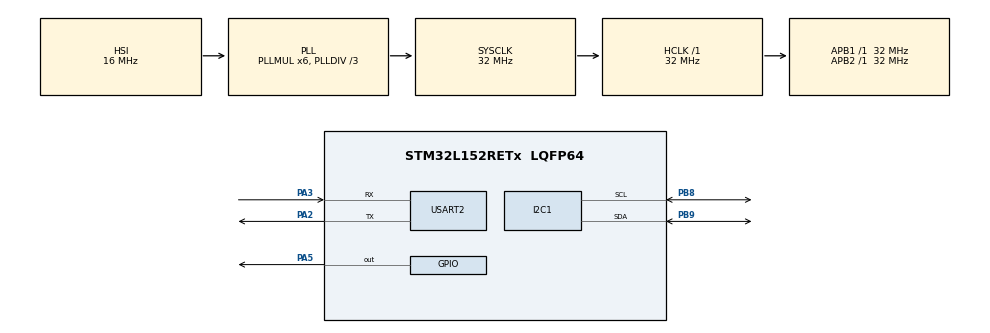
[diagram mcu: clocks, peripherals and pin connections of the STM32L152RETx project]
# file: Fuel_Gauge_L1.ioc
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Mcu.Family=STM32L1
Mcu.Name=STM32L152RETx
Mcu.Package=LQFP64
NVIC.PriorityGroup=NVIC_PRIORITYGROUP_0
PA2.Mode=Asynchronous
PA2.Signal=USART2_TX
PA3.Mode=Asynchronous
PA3.Signal=USART2_RX
PA5.Signal=GPIO_Output
PB8.GPIO_PuPdOD=GPIO_NOPULL
PB8.Mode=I2C
PB8.Signal=I2C1_SCL
PB9.GPIO_PuPdOD=GPIO_NOPULL
PB9.Mode=I2C
PB9.Signal=I2C1_SDA
ProjectManager.HeapSize=0x200
ProjectManager.StackSize=0x400
ProjectManager.TargetToolchain=MDK-ARM V5
RCC.48MHZClocksFreq_Value=48000000
RCC.AHBFreq_Value=32000000
RCC.APB1Freq_Value=32000000
RCC.APB1TimFreq_Value=32000000
RCC.APB2Freq_Value=32000000
RCC.APB2TimFreq_Value=32000000
RCC.HCLKFreq_Value=32000000
RCC.HSE_VALUE=8000000
RCC.HSI_VALUE=16000000
RCC.MSI_VALUE=2097000
RCC.PLLDIV=RCC_PLL_DIV3
RCC.PLLMUL=RCC_PLL_MUL6
RCC.RTCClockSelectionVirtual=RCC_RTCCLKSOURCE_LSE
RCC.SYSCLKFreq_VALUE=32000000
RCC.SYSCLKSource=RCC_SYSCLKSOURCE_PLLCLK
RCC.USBOutput=48000000
RCC.VCOOutputFreq_Value=96000000
USART2.VirtualMode=VM_ASYNC
board=NUCLEO-L152RE

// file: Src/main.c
/* USER CODE BEGIN Header */
/**
  ******************************************************************************
  * @file           : main.c
  * @brief          : Main program body
  ******************************************************************************
  ** This notice applies to any and all portions of this file
  * that are not between comment pairs USER CODE BEGIN and
  * USER CODE END. Other portions of this file, whether
  * inserted by the user or by software development tools
  * are owned by their respective copyright owners.
  *
  * COPYRIGHT(c) 2019 STMicroelectronics
  *
  * Redistribution and use in source and binary forms, with or without modification,
  * are permitted provided that the following conditions are met:
  *   1. Redistributions of source code must retain the above copyright notice,
  *      this list of conditions and the following disclaimer.
  *   2. Redistributions in binary form must reproduce the above copyright notice,
  *      this list of conditions and the following disclaimer in the documentation
  *      and/or other materials provided with the distribution.
  *   3. Neither the name of STMicroelectronics nor the names of its contributors
  *      may be used to endorse or promote products derived from this software
  *      without specific prior written permission.
  *
  * THIS SOFTWARE IS PROVIDED BY THE COPYRIGHT HOLDERS AND CONTRIBUTORS "AS IS"
  * AND ANY EXPRESS OR IMPLIED WARRANTIES, INCLUDING, BUT NOT LIMITED TO, THE
  * IMPLIED WARRANTIES OF MERCHANTABILITY AND FITNESS FOR A PARTICULAR PURPOSE ARE
  * DISCLAIMED. IN NO EVENT SHALL THE COPYRIGHT HOLDER OR CONTRIBUTORS BE LIABLE
  * FOR ANY DIRECT, INDIRECT, INCIDENTAL, SPECIAL, EXEMPLARY, OR CONSEQUENTIAL
  * DAMAGES (INCLUDING, BUT NOT LIMITED TO, PROCUREMENT OF SUBSTITUTE GOODS OR
  * SERVICES; LOSS OF USE, DATA, OR PROFITS; OR BUSINESS INTERRUPTION) HOWEVER
  * CAUSED AND ON ANY THEORY OF LIABILITY, WHETHER IN CONTRACT, STRICT LIABILITY,
  * OR TORT (INCLUDING NEGLIGENCE OR OTHERWISE) ARISING IN ANY WAY OUT OF THE USE
  * OF THIS SOFTWARE, EVEN IF ADVISED OF THE POSSIBILITY OF SUCH DAMAGE.
  *
  ******************************************************************************
  */
/* USER CODE END Header */

#include "main.h"

/* USER CODE BEGIN Includes */
#include "string.h"

#include "Fuel_Gauge_Functions.h"
/* USER CODE END Includes */

I2C_HandleTypeDef hi2c1;

UART_HandleTypeDef huart2;

/* USER CODE BEGIN PV */
static fg_config_t config = {	6700, 		// design capacity of 3350mAh
															0x7D61, 	// empty voltage target = 2.5V, recovery voltage = 3.88V
															0x8020, 	// model cfg set for lithium NCR/NCA cell
															0x01A0, 	// charge termination current = 0.3A
															0x0000,
															6700/32,
															(6700/32)*44138/6700,
															0x8214,	 	// config1
															0x3658};	// config2
/* USER CODE END PV */

void SystemClock_Config(void);
static void MX_GPIO_Init(void);
static void MX_USART2_UART_Init(void);
static void MX_I2C1_Init(void);

int main(void)
{

  /* MCU Configuration--------------------------------------------------------*/

  /* Reset of all peripherals, Initializes the Flash interface and the Systick. */
  HAL_Init();

  /* Configure the system clock */
  SystemClock_Config();

  /* Initialize all configured peripherals */
  MX_GPIO_Init();
  MX_USART2_UART_Init();
  MX_I2C1_Init();
  /* USER CODE BEGIN 2 */
	// Initialize UART buffers
	char uartTest[100] = {0};
	char clear[100] = {0};
	////////////////////////////////////////////////////////////////////////////////////////////////////////////////
	////////////// Create the message beginning the test ///////////////////////////////////////////////////////////
	////////////////////////////////////////////////////////////////////////////////////////////////////////////////
	snprintf(uartTest, sizeof(uartTest), "\n\n-----Test Begin-----\n");
	HAL_UART_Transmit(&huart2, (uint8_t *) uartTest , sizeof(uartTest), 1);

	////////////////////////////////////////////////////////////////////////////////////////////////////////////////
	////////////// Test the initialization and the value of the configuration registers ////////////////////////////
	////////////////////////////////////////////////////////////////////////////////////////////////////////////////
	// Initialize variables to track messages and errors
	uint16_t recv[1] = {0};
	uint8_t err_cnt = 0;

	// Initialize the fuel gauge registers
	init(&hi2c1, config);

	// Test each configuration register after initialization
	recv[0] = 0;
	readReg(&hi2c1, DESIGN_CAP_REG, recv);
	if (recv[0] != 6700) {
		err_cnt++;
	}

	recv[0] = 0;
	readReg(&hi2c1, V_EMPTY_REG, recv);
	if (recv[0] != 0x7D61) {
		err_cnt++;
	}

	recv[0] = 0;
	readReg(&hi2c1, MODEL_CFG_REG, recv);
	if (recv[0] != 0x0020) {
		err_cnt++;
	}

	recv[0] = 0;
	readReg(&hi2c1, I_CHG_REG, recv);
	if (recv[0] != 0x0780) {
		err_cnt++;
	}

	recv[0] = 0;
	readReg(&hi2c1, CONF_REG, recv);
	if (recv[0] != 0x8214) {
		err_cnt++;
	}

	recv[0] = 0;
	readReg(&hi2c1, CONF2_REG, recv);
	if (recv[0] != 0x3658) {
		err_cnt++;
	}

	// Create the message for the number of config registers that are not what they should be
	snprintf(uartTest, 100, "\nConfig registers not equal to what they should after initialization: %u\n", err_cnt);
	HAL_UART_Transmit(&huart2, (uint8_t *) uartTest , 100, 10);
	if (err_cnt == 6)
	{
		memcpy(uartTest, clear, 100);
		snprintf(uartTest, sizeof(uartTest), "\n-----Error: Test End-----\n\n");
		HAL_UART_Transmit(&huart2, (uint8_t *) uartTest , sizeof(uartTest), 10);
		return 0;
	}

	////////////////////////////////////////////////////////////////////////////////////////////////////////////////
	////////////// Test the registers with outputs of the fuel gauge ////////////////////////////
	////////////////////////////////////////////////////////////////////////////////////////////////////////////////
	// Test the reported remaining capacity register
	float output = 0.0;
	float outputV = 0.0;
	output = Get_Remaining_Capacity(&hi2c1);
	memcpy(uartTest, clear, 100);
	snprintf(uartTest, sizeof(uartTest), "\nREP_CAP_REG (capacity in mAh): %f\n", output);
	HAL_UART_Transmit(&huart2, (uint8_t *) uartTest , sizeof(uartTest), 10);

	// Test the reported state-of-charge percentage output
	output = Get_Charge_Percentage(&hi2c1);
	memcpy(uartTest, clear, 100);
	snprintf(uartTest, sizeof(uartTest), "\nREP_SOC_REG (state of charge in percent): %f%%\n", output);
	HAL_UART_Transmit(&huart2, (uint8_t *) uartTest , sizeof(uartTest), 10);

	// Test the  full capacity register
	output = Get_Max_Capacity(&hi2c1);
	memcpy(uartTest, clear, 100);
	snprintf(uartTest, sizeof(uartTest), "\nFULL_CAP_REG (full capacity in mAh): %f\n", output);
	HAL_UART_Transmit(&huart2, (uint8_t *) uartTest , sizeof(uartTest), 10);

	// Test the estimated time to empty register
	output = Get_TTE(&hi2c1);
	memcpy(uartTest, clear, 100);
	snprintf(uartTest, sizeof(uartTest), "\nTTE_REG (estimated time to empty): %f\n", output);
	HAL_UART_Transmit(&huart2, (uint8_t *) uartTest , sizeof(uartTest), 10);

	// Test the estimated time to full register
	output = Get_TTF(&hi2c1);
	memcpy(uartTest, clear, 100);
	snprintf(uartTest, sizeof(uartTest), "\nTTF_REG (estimated time to full): %f\n", output);
	HAL_UART_Transmit(&huart2, (uint8_t *) uartTest , sizeof(uartTest), 10);

	// Test the status register
	recv[0] = Get_Status(&hi2c1);
	memcpy(uartTest, clear, 100);
	snprintf(uartTest, sizeof(uartTest), "\nStatus (status of fuel gauge): 0x%02x\n", recv[0]);
	HAL_UART_Transmit(&huart2, (uint8_t *) uartTest , sizeof(uartTest), 10);

	// Test the output voltage
	output = Get_Voltage(&hi2c1, 0);
	memcpy(uartTest, clear, 100);
	snprintf(uartTest, sizeof(uartTest), "\nVoltage (voltage in volts): %f\n", output);
	HAL_UART_Transmit(&huart2, (uint8_t *) uartTest , sizeof(uartTest), 10);

	// Test the average output voltage
	output = Get_Voltage(&hi2c1, 1);
	memcpy(uartTest, clear, 100);
	snprintf(uartTest, sizeof(uartTest), "\nAverage voltage (voltage in volts): %f\n", output);
	HAL_UART_Transmit(&huart2, (uint8_t *) uartTest , sizeof(uartTest), 10);

	// Test the output current
	output = Get_Current(&hi2c1, 0);
	memcpy(uartTest, clear, 100);
	snprintf(uartTest, sizeof(uartTest), "\nCurrent (current in mA): %f\n", output);
	HAL_UART_Transmit(&huart2, (uint8_t *) uartTest , sizeof(uartTest), 10);

	// Test the average output current
	output = Get_Current(&hi2c1, 1);
	memcpy(uartTest, clear, 100);
	snprintf(uartTest, sizeof(uartTest), "\nAverage current (current in mA): %f\n", output);
	HAL_UART_Transmit(&huart2, (uint8_t *) uartTest , sizeof(uartTest), 10);

	// Test the temperature
	output = Get_Temp(&hi2c1);
	memcpy(uartTest, clear, 100);
	snprintf(uartTest, sizeof(uartTest), "\nTemperature (in degrees celcius): %f\n", output);
	HAL_UART_Transmit(&huart2, (uint8_t *) uartTest , sizeof(uartTest), 10);

	memcpy(uartTest, clear, 100);
	snprintf(uartTest, sizeof(uartTest), "\n\nVoltage and current every .2 seconds, 30 times\n");
	HAL_UART_Transmit(&huart2, (uint8_t *) uartTest , sizeof(uartTest), 10);
	for(int i = 0; i < 30; i++)
	{
		outputV = Get_Current(&hi2c1, 0);
		output  = Get_Voltage(&hi2c1, 0);
		memcpy(uartTest, clear, 100);
		snprintf(uartTest, sizeof(uartTest), "\nVoltage (V): %f    Current (mA): %f\n", output, outputV);
		HAL_UART_Transmit(&huart2, (uint8_t *) uartTest , sizeof(uartTest), 10);
		HAL_Delay(200);
	}

	////////////////////////////////////////////////////////////////////////////////////////////////////////////////
	////////////// Create the message ending the test ////////////////////////////
	////////////////////////////////////////////////////////////////////////////////////////////////////////////////
	memcpy(uartTest, clear, 100);
	snprintf(uartTest, sizeof(uartTest), "\n-----Test End-----\n");
	HAL_UART_Transmit(&huart2, (uint8_t *) uartTest , sizeof(uartTest), 10);

  /* USER CODE END 2 */

  /* Infinite loop */
  while (1)
  {

  }
}

void SystemClock_Config(void)
{
  RCC_OscInitTypeDef RCC_OscInitStruct = {0};
  RCC_ClkInitTypeDef RCC_ClkInitStruct = {0};

  /**Configure the main internal regulator output voltage
  */
  __HAL_PWR_VOLTAGESCALING_CONFIG(PWR_REGULATOR_VOLTAGE_SCALE1);
  /**Initializes the CPU, AHB and APB busses clocks
  */
  RCC_OscInitStruct.OscillatorType = RCC_OSCILLATORTYPE_HSI;
  RCC_OscInitStruct.HSIState = RCC_HSI_ON;
  RCC_OscInitStruct.HSICalibrationValue = RCC_HSICALIBRATION_DEFAULT;
  RCC_OscInitStruct.PLL.PLLState = RCC_PLL_ON;
  RCC_OscInitStruct.PLL.PLLSource = RCC_PLLSOURCE_HSI;
  RCC_OscInitStruct.PLL.PLLMUL = RCC_PLL_MUL6;
  RCC_OscInitStruct.PLL.PLLDIV = RCC_PLL_DIV3;
  if (HAL_RCC_OscConfig(&RCC_OscInitStruct) != HAL_OK)
  {
    Error_Handler();
  }
  /**Initializes the CPU, AHB and APB busses clocks
  */
  RCC_ClkInitStruct.ClockType = RCC_CLOCKTYPE_HCLK|RCC_CLOCKTYPE_SYSCLK
                              |RCC_CLOCKTYPE_PCLK1|RCC_CLOCKTYPE_PCLK2;
  RCC_ClkInitStruct.SYSCLKSource = RCC_SYSCLKSOURCE_PLLCLK;
  RCC_ClkInitStruct.AHBCLKDivider = RCC_SYSCLK_DIV1;
  RCC_ClkInitStruct.APB1CLKDivider = RCC_HCLK_DIV1;
  RCC_ClkInitStruct.APB2CLKDivider = RCC_HCLK_DIV1;

  if (HAL_RCC_ClockConfig(&RCC_ClkInitStruct, FLASH_LATENCY_1) != HAL_OK)
  {
    Error_Handler();
  }
}

static void MX_I2C1_Init(void)
{

  hi2c1.Instance = I2C1;
  hi2c1.Init.ClockSpeed = 100000;
  hi2c1.Init.DutyCycle = I2C_DUTYCYCLE_2;
  hi2c1.Init.OwnAddress1 = 0;
  hi2c1.Init.AddressingMode = I2C_ADDRESSINGMODE_7BIT;
  hi2c1.Init.DualAddressMode = I2C_DUALADDRESS_DISABLE;
  hi2c1.Init.OwnAddress2 = 0;
  hi2c1.Init.GeneralCallMode = I2C_GENERALCALL_DISABLE;
  hi2c1.Init.NoStretchMode = I2C_NOSTRETCH_DISABLE;
  if (HAL_I2C_Init(&hi2c1) != HAL_OK)
  {
    Error_Handler();
  }

}

static void MX_USART2_UART_Init(void)
{

  huart2.Instance = USART2;
  huart2.Init.BaudRate = 115200;
  huart2.Init.WordLength = UART_WORDLENGTH_8B;
  huart2.Init.StopBits = UART_STOPBITS_1;
  huart2.Init.Parity = UART_PARITY_NONE;
  huart2.Init.Mode = UART_MODE_TX_RX;
  huart2.Init.HwFlowCtl = UART_HWCONTROL_NONE;
  huart2.Init.OverSampling = UART_OVERSAMPLING_16;
  if (HAL_UART_Init(&huart2) != HAL_OK)
  {
    Error_Handler();
  }

}

static void MX_GPIO_Init(void)
{
  GPIO_InitTypeDef GPIO_InitStruct = {0};

  /* GPIO Ports Clock Enable */
  __HAL_RCC_GPIOA_CLK_ENABLE();
  __HAL_RCC_GPIOB_CLK_ENABLE();

  /*Configure GPIO pin Output Level */
  HAL_GPIO_WritePin(GPIOA, GPIO_PIN_5, GPIO_PIN_RESET);

  /*Configure GPIO pin : PA5 */
  GPIO_InitStruct.Pin = GPIO_PIN_5;
  GPIO_InitStruct.Mode = GPIO_MODE_OUTPUT_PP;
  GPIO_InitStruct.Pull = GPIO_NOPULL;
  GPIO_InitStruct.Speed = GPIO_SPEED_FREQ_LOW;
  HAL_GPIO_Init(GPIOA, &GPIO_InitStruct);

}

void Error_Handler(void)
{
}

/************************ (C) COPYRIGHT STMicroelectronics *****END OF FILE****/
